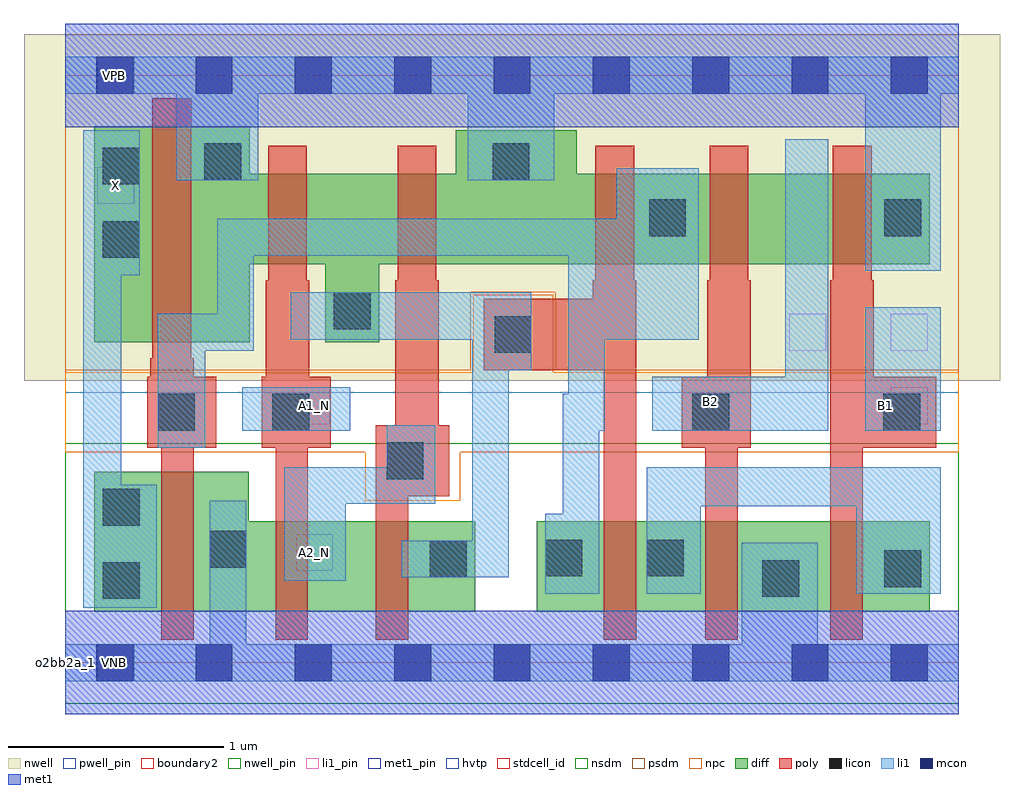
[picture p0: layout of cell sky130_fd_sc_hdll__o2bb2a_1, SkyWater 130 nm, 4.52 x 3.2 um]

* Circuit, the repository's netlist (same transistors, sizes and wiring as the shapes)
* Copyright 2020 The SkyWater PDK Authors
*
* Licensed under the Apache License, Version 2.0 (the "License");
* you may not use this file except in compliance with the License.
* You may obtain a copy of the License at
*
*     https://www.apache.org/licenses/LICENSE-2.0
*
* Unless required by applicable law or agreed to in writing, software
* distributed under the License is distributed on an "AS IS" BASIS,
* WITHOUT WARRANTIES OR CONDITIONS OF ANY KIND, either express or implied.
* See the License for the specific language governing permissions and
* limitations under the License.
*
* SPDX-License-Identifier: Apache-2.0

.SUBCKT sky130_fd_sc_hdll__o2bb2a_1 A1_N A2_N B1 B2 VGND VNB VPB VPWR X
*.PININFO A1_N:I A2_N:I B1:I B2:I VGND:I VNB:I VPB:I VPWR:I X:O
MMIN2 X y VGND VNB sky130_fd_pr__nfet_01v8 m=1 w=0.65U l=0.15U mult=1 sa=0.265
+ sb=0.265 sd=0.28 area=0.063 perim=1.14
MMNnand0 VGND A1_N sndNA1N VNB sky130_fd_pr__nfet_01v8 m=1 w=0.42U l=0.15U mult=1
+ sa=0.265 sb=0.265 sd=0.28 area=0.063 perim=1.14
MMNnand1 sndNA1N A2_N inand VNB sky130_fd_pr__nfet_01v8 m=1 w=0.42U l=0.15U mult=1
+ sa=0.265 sb=0.265 sd=0.28 area=0.063 perim=1.14
MMNaoi10 nmid B1 VGND VNB sky130_fd_pr__nfet_01v8 m=1 w=0.42U l=0.15U mult=1 sa=0.265
+ sb=0.265 sd=0.28 area=0.063 perim=1.14
MMNaoi11 nmid B2 VGND VNB sky130_fd_pr__nfet_01v8 m=1 w=0.42U l=0.15U mult=1 sa=0.265
+ sb=0.265 sd=0.28 area=0.063 perim=1.14
MMNaoi20 y inand nmid VNB sky130_fd_pr__nfet_01v8 m=1 w=0.42U l=0.15U mult=1 sa=0.265
+ sb=0.265 sd=0.28 area=0.063 perim=1.14
MMIP2 X y VPWR VPB sky130_fd_pr__pfet_01v8_hvt m=1 w=1.0U l=0.18U mult=1 sa=0.265
+ sb=0.265 sd=0.28 area=0.063 perim=1.14
MMPnand0 inand A1_N VPWR VPB sky130_fd_pr__pfet_01v8_hvt m=1 w=0.42U l=0.18U mult=1
+ sa=0.265 sb=0.265 sd=0.28 area=0.063 perim=1.14
MMPnand1 inand A2_N VPWR VPB sky130_fd_pr__pfet_01v8_hvt m=1 w=0.42U l=0.18U mult=1
+ sa=0.265 sb=0.265 sd=0.28 area=0.063 perim=1.14
MMPaoi10 VPWR B1 sndPB1 VPB sky130_fd_pr__pfet_01v8_hvt m=1 w=0.42U l=0.18U mult=1
+ sa=0.265 sb=0.265 sd=0.28 area=0.063 perim=1.14
MMPaoi11 sndPB1 B2 y VPB sky130_fd_pr__pfet_01v8_hvt m=1 w=0.42U l=0.18U mult=1
+ sa=0.265 sb=0.265 sd=0.28 area=0.063 perim=1.14
MMPaoi20 y inand VPWR VPB sky130_fd_pr__pfet_01v8_hvt m=1 w=0.42U l=0.18U mult=1
+ sa=0.265 sb=0.265 sd=0.28 area=0.063 perim=1.14
.ENDS sky130_fd_sc_hdll__o2bb2a_1

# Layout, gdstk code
import gdstk
lib = gdstk.Library(unit=1e-6, precision=1e-09)
def R(c, l, rs):  # rectangles x0, y0, x1, y1
    for r in rs: c.add(gdstk.rectangle(r[:2], r[2:], *l))
def A(c, l, x, y, w, h, nx, ny, dx, dy):  # array of equal rectangles
    R(c, l, [(x+i*dx, y+j*dy, x+i*dx+w, y+j*dy+h) for i in range(nx) for j in range(ny)])
def P(c, l, *ps):  # polygons
    for p in ps: c.add(gdstk.Polygon(p, *l))
nwell_pin = (64, 16)
nwell = (64, 20)
diff = (65, 20)
poly = (66, 20)
licon = (66, 44)
li1_pin = (67, 16)
li1 = (67, 20)
mcon = (67, 44)
met1_pin = (68, 16)
met1 = (68, 20)
hvtp = (78, 44)
stdcell_id = (81, 4)
nsdm = (93, 44)
psdm = (94, 20)
npc = (95, 20)
pwell_pin = (122, 16)
boundary2 = (236, 0)

sky130_fd_sc_hdll__o2bb2 = lib.new_cell('sky130_fd_sc_hdll__o2bb2a_1')
R(sky130_fd_sc_hdll__o2bb2, nwell_pin, [(0.15,2.635,0.32,2.805)])
R(sky130_fd_sc_hdll__o2bb2, nwell, [(-0.19,1.305,4.33,2.91)])
R(sky130_fd_sc_hdll__o2bb2, diff, [(2.185,0.235,4.005,0.655)])
P(sky130_fd_sc_hdll__o2bb2, diff, [(1.9,0.655),(0.85,0.655),(0.85,0.885),(0.135,0.885),(0.135,0.235),(1.9,0.235)],
  [(4.005,2.265),(2.37,2.265),(2.37,2.465),(1.81,2.465),(1.81,2.265),(0.855,2.265),(0.855,2.485),(0.135,2.485),(0.135,1.485),(0.855,1.485),(0.855,1.845),(1.205,1.845),(1.205,1.485),(1.455,1.485),(1.455,1.845),(4.005,1.845)])
P(sky130_fd_sc_hdll__o2bb2, poly, [(0.7,1.325),(0.595,1.325),(0.595,1.41),(0.585,1.41),(0.585,2.615),(0.405,2.615),(0.405,1.41),(0.395,1.41),(0.395,1.325),(0.38,1.325),(0.38,0.995),(0.445,0.995),(0.445,0.105),(0.595,0.105),(0.595,0.995),(0.7,0.995)],
  [(1.23,1.325),(1.13,1.325),(1.13,1.77),(1.12,1.77),(1.12,2.395),(0.94,2.395),(0.94,1.77),(0.93,1.77),(0.93,1.325),(0.91,1.325),(0.91,0.995),(0.975,0.995),(0.975,0.105),(1.125,0.105),(1.125,0.995),(1.23,0.995)],
  [(1.78,1.1),(1.73,1.1),(1.73,1.77),(1.72,1.77),(1.72,2.395),(1.54,2.395),(1.54,1.77),(1.53,1.77),(1.53,1.1),(1.44,1.1),(1.44,0.105),(1.59,0.105),(1.59,0.77),(1.78,0.77)],
  [(2.645,1.77),(2.635,1.77),(2.635,2.395),(2.455,2.395),(2.455,1.77),(2.445,1.77),(2.445,1.685),(1.94,1.685),(1.94,1.355),(2.495,1.355),(2.495,0.105),(2.645,0.105)],
  [(3.175,1.77),(3.165,1.77),(3.165,2.395),(2.985,2.395),(2.985,1.77),(2.975,1.77),(2.975,1.325),(2.855,1.325),(2.855,0.995),(2.965,0.995),(2.965,0.105),(3.115,0.105),(3.115,0.995),(3.175,0.995)],
  [(4.035,1.325),(3.745,1.325),(3.745,1.77),(3.735,1.77),(3.735,2.395),(3.555,2.395),(3.555,1.77),(3.545,1.77),(3.545,0.105),(3.695,0.105),(3.695,0.995),(4.035,0.995)])
R(sky130_fd_sc_hdll__o2bb2, licon, [(0.175,0.295,0.345,0.465), (3.23,0.305,3.4,0.475), (3.795,0.35,3.965,0.52), (1.69,0.395,1.86,0.565), (2.225,0.4,2.395,0.57), (2.695,0.4,2.865,0.57), (0.67,0.44,0.84,0.61), (0.175,0.635,0.345,0.805), (1.49,0.85,1.66,1.02), (0.43,1.075,0.6,1.245), (0.96,1.075,1.13,1.245), (2.905,1.075,3.075,1.245), (3.79,1.075,3.96,1.245), (1.99,1.435,2.16,1.605), (1.245,1.545,1.415,1.715), (0.175,1.875,0.345,2.045), (2.705,1.975,2.875,2.145), (3.795,1.975,3.965,2.145), (0.175,2.215,0.345,2.385), (0.645,2.235,0.815,2.405), (1.98,2.235,2.15,2.405)])
R(sky130_fd_sc_hdll__o2bb2, li1_pin, [(1.07,0.425,1.24,0.595), (1.055,1.105,1.225,1.275), (3.825,1.105,3.995,1.275), (3.355,1.445,3.525,1.615), (3.825,1.445,3.995,1.615), (0.15,2.125,0.32,2.295)])
R(sky130_fd_sc_hdll__o2bb2, li1, [(0.82,1.075,1.32,1.275), (3.705,1.075,4.055,1.645)])
P(sky130_fd_sc_hdll__o2bb2, li1, [(3.535,2.425),(3.335,2.425),(3.335,1.325),(2.72,1.325),(2.72,1.075),(3.535,1.075)],
  [(1.715,1.1),(1.49,1.1),(1.49,0.905),(1.015,0.905),(1.015,0.38),(1.3,0.38),(1.3,0.735),(1.715,0.735)],
  [(2.935,2.29),(2.555,2.29),(2.555,2.055),(0.705,2.055),(0.705,1.615),(0.43,1.615),(0.43,0.995),(0.65,0.995),(0.65,1.445),(0.875,1.445),(0.875,1.885),(2.33,1.885),(2.33,1.245),(2.305,1.245),(2.305,0.69),(2.225,0.69),(2.225,0.32),(2.475,0.32),(2.475,1.075),(2.5,1.075),(2.5,1.495),(2.935,1.495)],
  [(4.055,0.905),(2.695,0.905),(2.695,0.32),(2.945,0.32),(2.945,0.725),(3.665,0.725),(3.665,0.32),(4.055,0.32)],
  [(4.14,0.085),(3.485,0.085),(3.485,0.555),(3.135,0.555),(3.135,0.085),(0.84,0.085),(0.84,0.75),(0.67,0.75),(0.67,0.085),(0,0.085),(0,-0.085),(4.14,-0.085)],
  [(0.425,0.825),(0.26,0.825),(0.26,1.795),(0.345,1.795),(0.345,2.465),(0.085,2.465),(0.085,0.255),(0.425,0.255)],
  [(2.16,1.715),(1.045,1.715),(1.045,1.495),(1.885,1.495),(1.885,0.565),(1.56,0.565),(1.56,0.395),(2.055,0.395),(2.055,1.355),(2.16,1.355)],
  [(4.14,2.805),(0,2.805),(0,2.635),(0.515,2.635),(0.515,2.235),(0.895,2.235),(0.895,2.635),(1.865,2.635),(1.865,2.235),(2.265,2.235),(2.265,2.635),(3.705,2.635),(3.705,1.815),(4.055,1.815),(4.055,2.635),(4.14,2.635)])
A(sky130_fd_sc_hdll__o2bb2, mcon, 0.145, -0.085, 0.17, 0.17, 9, 2, 0.46, 2.72)
R(sky130_fd_sc_hdll__o2bb2, met1_pin, [(0.15,-0.085,0.32,0.085), (0.15,2.635,0.32,2.805)])
R(sky130_fd_sc_hdll__o2bb2, met1, [(0,-0.24,4.14,0.24), (0,2.48,4.14,2.96)])
R(sky130_fd_sc_hdll__o2bb2, hvtp, [(0,1.25,4.14,2.72)])
R(sky130_fd_sc_hdll__o2bb2, stdcell_id, [(0,0,4.14,2.72)])
R(sky130_fd_sc_hdll__o2bb2, nsdm, [(0,-0.19,4.14,1.015)])
P(sky130_fd_sc_hdll__o2bb2, psdm, [(4.14,2.91),(0,2.91),(0,1.355),(1.88,1.355),(1.88,1.715),(2.27,1.715),(2.27,1.355),(4.14,1.355)])
P(sky130_fd_sc_hdll__o2bb2, npc, [(4.14,1.345),(2.26,1.345),(2.26,1.705),(1.89,1.705),(1.89,1.345),(0,1.345),(0,0.975),(1.39,0.975),(1.39,0.75),(1.83,0.75),(1.83,0.975),(4.14,0.975)])
R(sky130_fd_sc_hdll__o2bb2, pwell_pin, [(0.15,-0.085,0.32,0.085)])
R(sky130_fd_sc_hdll__o2bb2, boundary2, [(0,0,4.14,2.72)])
sky130_fd_sc_hdll__o2bb2.add(gdstk.Label('A1_N', (1.155,1.19), layer=67, texttype=5))
sky130_fd_sc_hdll__o2bb2.add(gdstk.Label('X', (0.235,2.21), layer=67, texttype=5))
sky130_fd_sc_hdll__o2bb2.add(gdstk.Label('A2_N', (1.155,0.51), layer=67, texttype=5))
sky130_fd_sc_hdll__o2bb2.add(gdstk.Label('B2', (2.99,1.21), layer=67, texttype=5))
sky130_fd_sc_hdll__o2bb2.add(gdstk.Label('B1', (3.8,1.19), layer=67, texttype=5))
sky130_fd_sc_hdll__o2bb2.add(gdstk.Label('VNB', (0.23,0), layer=64, texttype=59))
sky130_fd_sc_hdll__o2bb2.add(gdstk.Label('VPB', (0.23,2.72), layer=64, texttype=5))
sky130_fd_sc_hdll__o2bb2.add(gdstk.Label('VPWR', (0.23,2.72), layer=68, texttype=5))
sky130_fd_sc_hdll__o2bb2.add(gdstk.Label('VGND', (0.23,0), layer=68, texttype=5))
sky130_fd_sc_hdll__o2bb2.add(gdstk.Label('o2bb2a_1', (0,0), layer=83, texttype=44))

lib.write_gds('sky130_fd_sc_hdll__o2bb2a_1.gds')
